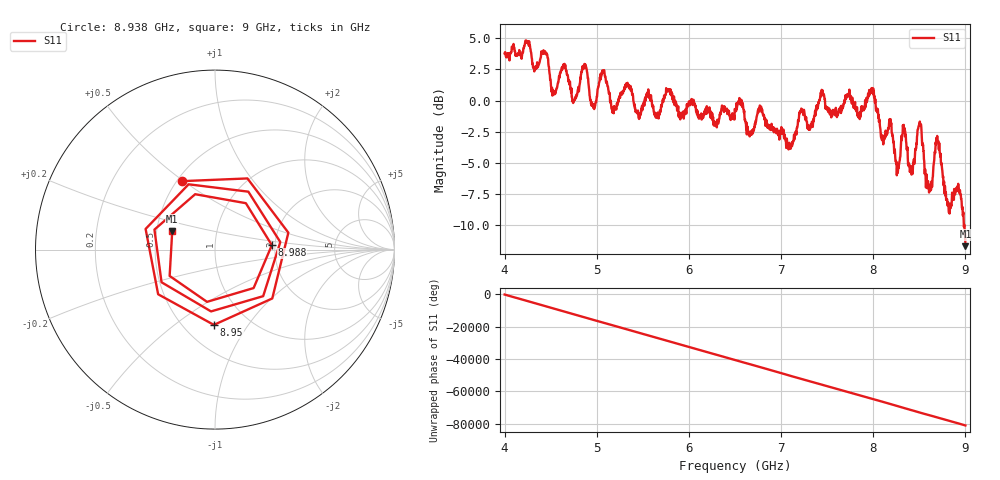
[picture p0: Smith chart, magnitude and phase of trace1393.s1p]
! Created with skrf 1.8.0 (http://scikit-rf.org).
# Hz S RI R 50.0
!freq ReS11 ImS11
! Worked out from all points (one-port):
!   1601 points, 4 GHz to 9 GHz, reference 50 ohm
!   lowest |S11| = -11.7 dB at 9 GHz (marker M1), VSWR 1.70, Z = 30.2 + j6.73 ohm
!   |S11| at or under -10 dB: 8.982997 GHz to 8.987193 GHz (4.196 MHz wide, 0.0467 % of centre); 8.988302 GHz to end of sweep
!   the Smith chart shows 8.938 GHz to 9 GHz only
!   S11 on the Smith chart (normalised r, x): 8.938 GHz: 0.53, +0.49; 8.95 GHz: 0.69, -0.71; 8.988 GHz: 1.92, +0.11; 9 GHz: 0.60, +0.13
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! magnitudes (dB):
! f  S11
! 4 GHz  3.8
! 4.438 GHz  4.0
! 4.534 GHz  0.6
! 4.625 GHz  2.5
! 4.753 GHz  0.0
! 4.866 GHz  2.9
! 4.959 GHz  -0.4
! 5.066 GHz  2.3
! 5.175 GHz  -0.6
! 5.25 GHz  0.4
! 5.875 GHz  -0.6
! 6.5 GHz  -0.7
! 7.125 GHz  -3.5
! 7.441 GHz  0.9
! 7.75 GHz  0.1
! 7.988 GHz  1.0
! 8.262 GHz  -5.5
! 8.328 GHz  -2.4
! 8.375 GHz  -4.6
! 8.422 GHz  -5.6
! 8.503 GHz  -1.8
! 8.594 GHz  -6.5
! 8.7 GHz  -3.3
! 8.816 GHz  -8.3
! 8.938 GHz  -7.5
! 8.95 GHz  -7.5
! 8.988 GHz  -10.0
! 9 GHz  -11.7
